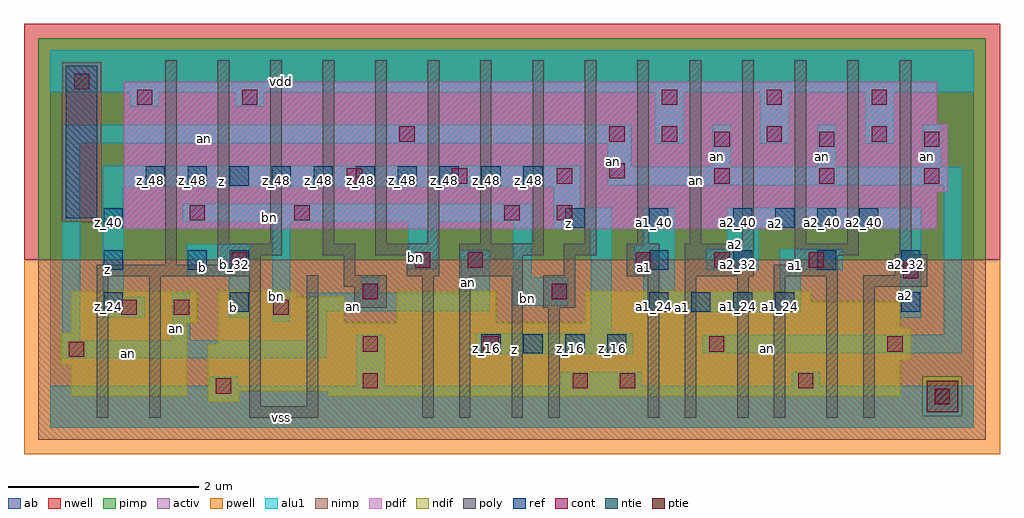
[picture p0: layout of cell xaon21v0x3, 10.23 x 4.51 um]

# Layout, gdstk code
import gdstk
lib = gdstk.Library(unit=1e-6, precision=2.5e-09)
def R(c, l, rs):  # rectangles x0, y0, x1, y1
    for r in rs: c.add(gdstk.rectangle(r[:2], r[2:], *l))
def A(c, l, x, y, w, h, nx, ny, dx, dy):  # array of equal rectangles
    R(c, l, [(x+i*dx, y+j*dy, x+i*dx+w, y+j*dy+h) for i in range(nx) for j in range(ny)])
ndif = (3, 0)
pdif = (4, 0)
ntie = (5, 0)
ptie = (6, 0)
ref = (24, 0)
cont = (25, 0)
pwell = (41, 0)
nwell = (42, 0)
activ = (43, 0)
pimp = (44, 0)
nimp = (45, 0)
poly = (46, 0)
alu1 = (49, 0)
ab = (63, 0)

xaon21v0x3 = lib.new_cell('xaon21v0x3')
R(xaon21v0x3, ndif, [(1.65,0.275,1.98,0.385), (0.22,0.33,1.43,0.66), (2.915,0.33,8.91,0.385), (1.65,0.385,8.91,0.715), (0.11,0.66,1.43,0.99), (1.65,0.715,9.02,0.88), (1.76,0.88,9.02,1.045), (0.22,0.99,1.43,1.1), (1.76,1.045,8.91,1.1), (0.22,1.1,1.54,1.43), (1.76,1.1,3.08,1.375), (3.63,1.1,4.675,1.43), (5.61,1.1,8.91,1.32), (5.61,1.32,7.975,1.43), (1.76,1.375,2.585,1.43)])
R(xaon21v0x3, pdif, [(0.77,2.09,9.295,2.475), (0.77,2.475,9.405,3.19), (0.77,3.19,9.295,3.63)])
R(xaon21v0x3, ntie, [(0.165,2.2,0.495,3.795)])
R(xaon21v0x3, ptie, [(9.185,0.165,9.515,0.495)])
A(xaon21v0x3, ref, 4.52, 0.78, 0.2, 0.2, 4, 1, 0.44, 0)
A(xaon21v0x3, ref, 0.56, 1.22, 0.2, 0.2, 1, 3, 0, 0.44)
A(xaon21v0x3, ref, 6.28, 1.22, 0.2, 0.2, 4, 1, 0.44, 0)
A(xaon21v0x3, ref, 6.28, 1.66, 0.2, 0.2, 4, 1, 0.88, 0)
A(xaon21v0x3, ref, 5.4, 2.1, 0.2, 0.2, 3, 1, 0.88, 0)
A(xaon21v0x3, ref, 7.6, 2.1, 0.2, 0.2, 3, 1, 0.44, 0)
A(xaon21v0x3, ref, 1, 2.54, 0.2, 0.2, 10, 1, 0.44, 0)
R(xaon21v0x3, ref, [(1.88,1.22,2.08,1.42), (8.92,1.22,9.12,1.42), (1.44,1.66,1.64,1.86), (1.88,1.66,2.08,1.86)])
A(xaon21v0x3, cont, 3.11, 2.56, 0.16, 0.16, 3, 1, 1.1, 0)
A(xaon21v0x3, cont, 6.96, 2.56, 0.16, 0.16, 3, 2, 1.1, 0.385)
A(xaon21v0x3, cont, 6.41, 3, 0.16, 0.16, 3, 2, 1.1, 0.385)
R(xaon21v0x3, cont, [(9.27,0.25,9.43,0.41), (1.735,0.36,1.895,0.52), (3.275,0.415,3.435,0.575), (5.475,0.415,5.635,0.575), (5.97,0.415,6.13,0.575), (7.84,0.415,8,0.575), (0.195,0.745,0.355,0.905), (3.275,0.8,3.435,0.96), (4.54,0.8,4.7,0.96), (6.905,0.8,7.065,0.96), (8.775,0.8,8.935,0.96), (0.745,1.185,0.905,1.345), (1.295,1.185,1.455,1.345), (2.34,1.185,2.5,1.345), (3.275,1.35,3.435,1.51), (5.255,1.35,5.415,1.51), (8.94,1.57,9.1,1.73), (1.9,1.68,2.06,1.84), (3.825,1.68,3.985,1.84), (4.375,1.68,4.535,1.84), (6.135,1.68,6.295,1.84), (6.96,1.68,7.12,1.84), (7.95,1.68,8.11,1.84), (1.46,2.175,1.62,2.335), (2.56,2.175,2.72,2.335), (4.76,2.175,4.92,2.335), (5.31,2.175,5.47,2.335), (5.86,2.615,6.02,2.775), (3.66,3,3.82,3.16), (5.86,3,6.02,3.16), (0.91,3.385,1.07,3.545), (2.01,3.385,2.17,3.545), (0.25,3.55,0.41,3.71)])
R(xaon21v0x3, pwell, [(-0.275,-0.275,9.955,1.76)])
R(xaon21v0x3, nwell, [(-0.275,1.76,9.955,4.235)])
R(xaon21v0x3, activ, [(9.185,0.165,9.515,0.495), (1.65,0.275,1.98,0.385), (0.22,0.33,1.43,0.66), (2.915,0.33,8.91,0.385), (1.65,0.385,8.91,0.715), (0.11,0.66,1.43,0.99), (1.65,0.715,9.02,0.88), (1.76,0.88,9.02,1.045), (0.22,0.99,1.43,1.1), (1.76,1.045,8.91,1.1), (0.22,1.1,1.54,1.43), (1.76,1.1,3.08,1.375), (3.63,1.1,4.675,1.43), (5.61,1.1,8.91,1.32), (5.61,1.32,7.975,1.43), (1.76,1.375,2.585,1.43), (0.77,2.09,9.295,2.475), (0.165,2.2,0.495,3.795), (0.77,2.475,9.405,3.19), (0.77,3.19,9.295,3.63)])
R(xaon21v0x3, pimp, [(9.145,0.125,9.555,0.535), (-0.125,1.76,9.805,2.16), (-0.125,2.16,0.125,3.835), (0.535,2.16,9.805,3.835), (-0.125,3.835,9.805,4.085)])
R(xaon21v0x3, nimp, [(-0.125,-0.125,9.805,0.125), (-0.125,0.125,9.145,0.535), (9.555,0.125,9.805,0.535), (-0.125,0.535,9.805,1.76), (0.125,2.16,0.535,3.835)])
A(xaon21v0x3, poly, 1.755, 1.93, 0.12, 1.925, 13, 1, 0.55, 0)
R(xaon21v0x3, poly, [(0.49,0.105,0.61,1.59), (1.04,0.105,1.16,1.59), (2.085,0.105,2.81,0.225), (3.9,0.105,4.02,1.59), (4.285,0.105,4.405,1.59), (4.835,0.105,4.955,1.59), (5.22,0.105,5.34,1.26), (6.265,0.105,6.385,1.59), (6.65,0.105,6.77,1.59), (7.2,0.105,7.32,1.59), (7.585,0.105,7.705,1.59), (8.135,0.105,8.255,1.59), (8.52,0.105,8.64,1.48), (2.085,0.225,2.205,1.59), (2.69,0.225,2.81,1.6), (3.185,1.26,3.525,1.48), (5.165,1.26,5.505,1.6), (3.075,1.48,3.525,1.6), (8.52,1.48,9.19,1.6), (0.49,1.59,2.205,1.71), (3.735,1.59,4.075,1.81), (4.285,1.59,4.955,1.81), (6.045,1.59,6.385,1.93), (6.65,1.59,7.375,1.93), (7.585,1.59,8.255,1.71), (3.075,1.6,3.195,1.81), (5.385,1.6,5.505,1.81), (8.85,1.6,9.19,1.82), (1.205,1.71,1.325,3.855), (1.755,1.71,2.205,1.81), (7.805,1.71,8.255,1.81), (1.755,1.81,2.425,1.93), (2.855,1.81,3.195,1.93), (3.405,1.81,4.075,1.93), (4.285,1.81,5.175,1.93), (5.385,1.81,5.725,1.93), (7.805,1.81,8.475,1.93), (8.905,1.82,9.025,3.855)])
A(xaon21v0x3, alu1, 6.945, 2.735, 0.19, 0.44, 3, 1, 1.1, 0)
A(xaon21v0x3, alu1, 6.34, 2.985, 0.3, 0.535, 3, 1, 1.1, 0)
R(xaon21v0x3, alu1, [(0,0,9.68,0.44), (1.665,0.44,1.965,0.535), (3.205,0.44,3.505,0.975), (5.35,0.44,6.2,0.59), (7.77,0.44,8.07,0.59), (0.125,0.73,2.9,0.92), (4.455,0.77,6.105,0.99), (6.835,0.785,9.555,0.975), (0.125,0.92,0.315,2.985), (1.28,0.92,1.47,1.415), (2.71,0.92,2.9,1.225), (9.365,0.975,9.555,2.545), (5.665,0.99,5.885,2.09), (2.325,1.115,2.515,2.16), (0.55,1.155,0.99,1.375), (1.87,1.155,2.09,1.595), (8.91,1.155,9.13,2.09), (6.215,1.21,7.865,1.43), (2.71,1.225,4.605,1.415), (4.855,1.28,5.43,1.58), (0.55,1.375,0.77,2.53), (3.26,1.415,3.45,1.58), (4.305,1.415,4.605,1.855), (6.215,1.43,6.545,1.61), (7.645,1.43,7.865,1.65), (4.855,1.58,5.045,2.16), (1.43,1.595,2.09,1.925), (6.12,1.61,6.545,1.91), (6.875,1.65,7.425,1.87), (7.645,1.65,8.305,1.87), (3.755,1.665,4.055,2.16), (7.095,1.87,7.425,2.09), (6.215,1.91,6.545,2.31), (5.28,2.09,5.885,2.31), (7.095,2.09,9.13,2.31), (1.39,2.16,5.045,2.35), (5.28,2.31,5.555,2.53), (0.55,2.53,5.555,2.75), (5.845,2.545,9.555,2.735), (5.845,2.735,6.09,2.985), (0.125,2.985,6.09,3.175), (0.84,3.37,1.14,3.52), (1.94,3.37,2.24,3.52), (0,3.52,9.68,3.96)])
R(xaon21v0x3, ab, [(0,0,9.68,3.96)])
xaon21v0x3.add(gdstk.Label('vss', (2.42,0.11), layer=49, texttype=0))
xaon21v0x3.add(gdstk.Label('an', (7.515,0.8325), layer=49, texttype=0))
xaon21v0x3.add(gdstk.Label('z', (4.8675,0.825), layer=49, texttype=0))
xaon21v0x3.add(gdstk.Label('an', (0.8175,0.7775), layer=49, texttype=0))
xaon21v0x3.add(gdstk.Label('a2', (8.965,1.3875), layer=49, texttype=0))
xaon21v0x3.add(gdstk.Label('a1', (6.6275,1.265), layer=49, texttype=0))
xaon21v0x3.add(gdstk.Label('a1', (7.81,1.705), layer=49, texttype=0))
xaon21v0x3.add(gdstk.Label('a2', (7.1775,1.925), layer=49, texttype=0))
xaon21v0x3.add(gdstk.Label('a2', (7.6025,2.145), layer=49, texttype=0))
xaon21v0x3.add(gdstk.Label('a1', (6.225,1.685), layer=49, texttype=0))
xaon21v0x3.add(gdstk.Label('bn', (4.9975,1.355), layer=49, texttype=0))
xaon21v0x3.add(gdstk.Label('z', (5.43,2.145), layer=49, texttype=0))
xaon21v0x3.add(gdstk.Label('an', (3.1825,1.2725), layer=49, texttype=0))
xaon21v0x3.add(gdstk.Label('an', (4.38,1.525), layer=49, texttype=0))
xaon21v0x3.add(gdstk.Label('bn', (3.83,1.7875), layer=49, texttype=0))
xaon21v0x3.add(gdstk.Label('bn', (2.3725,1.375), layer=49, texttype=0))
xaon21v0x3.add(gdstk.Label('b', (1.925,1.265), layer=49, texttype=0))
xaon21v0x3.add(gdstk.Label('an', (1.3275,1.0425), layer=49, texttype=0))
xaon21v0x3.add(gdstk.Label('b', (1.595,1.6775), layer=49, texttype=0))
xaon21v0x3.add(gdstk.Label('bn', (2.3025,2.2075), layer=49, texttype=0))
xaon21v0x3.add(gdstk.Label('z', (0.605,1.6625), layer=49, texttype=0))
xaon21v0x3.add(gdstk.Label('an', (6.7725,2.5925), layer=49, texttype=0))
xaon21v0x3.add(gdstk.Label('an', (9.1925,2.845), layer=49, texttype=0))
xaon21v0x3.add(gdstk.Label('an', (8.0925,2.845), layer=49, texttype=0))
xaon21v0x3.add(gdstk.Label('an', (6.9925,2.845), layer=49, texttype=0))
xaon21v0x3.add(gdstk.Label('an', (5.905,2.7975), layer=49, texttype=0))
xaon21v0x3.add(gdstk.Label('z', (1.8,2.585), layer=49, texttype=0))
xaon21v0x3.add(gdstk.Label('an', (1.615,3.0325), layer=49, texttype=0))
xaon21v0x3.add(gdstk.Label('vdd', (2.42,3.63), layer=49, texttype=0))
xaon21v0x3.add(gdstk.Label('z_16', (5.45,0.83), layer=24, texttype=0))
xaon21v0x3.add(gdstk.Label('z_40', (5.45,2.15), layer=24, texttype=0))
xaon21v0x3.add(gdstk.Label('z_16', (5.89,0.83), layer=24, texttype=0))
xaon21v0x3.add(gdstk.Label('a1_24', (6.33,1.27), layer=24, texttype=0))
xaon21v0x3.add(gdstk.Label('a1_32', (6.33,1.71), layer=24, texttype=0))
xaon21v0x3.add(gdstk.Label('a1_40', (6.33,2.15), layer=24, texttype=0))
xaon21v0x3.add(gdstk.Label('z_24', (0.61,1.27), layer=24, texttype=0))
xaon21v0x3.add(gdstk.Label('z_32', (0.61,1.71), layer=24, texttype=0))
xaon21v0x3.add(gdstk.Label('z_40', (0.61,2.15), layer=24, texttype=0))
xaon21v0x3.add(gdstk.Label('a1_24', (6.77,1.27), layer=24, texttype=0))
xaon21v0x3.add(gdstk.Label('a1_24', (7.21,1.27), layer=24, texttype=0))
xaon21v0x3.add(gdstk.Label('a2_32', (7.21,1.71), layer=24, texttype=0))
xaon21v0x3.add(gdstk.Label('a2_40', (7.21,2.15), layer=24, texttype=0))
xaon21v0x3.add(gdstk.Label('a1_24', (7.65,1.27), layer=24, texttype=0))
xaon21v0x3.add(gdstk.Label('a2_40', (7.65,2.15), layer=24, texttype=0))
xaon21v0x3.add(gdstk.Label('a1_32', (8.09,1.71), layer=24, texttype=0))
xaon21v0x3.add(gdstk.Label('a2_40', (8.09,2.15), layer=24, texttype=0))
xaon21v0x3.add(gdstk.Label('a2_40', (8.53,2.15), layer=24, texttype=0))
xaon21v0x3.add(gdstk.Label('a2_24', (8.97,1.27), layer=24, texttype=0))
xaon21v0x3.add(gdstk.Label('a2_32', (8.97,1.71), layer=24, texttype=0))
xaon21v0x3.add(gdstk.Label('z_48', (1.05,2.59), layer=24, texttype=0))
xaon21v0x3.add(gdstk.Label('b_32', (1.49,1.71), layer=24, texttype=0))
xaon21v0x3.add(gdstk.Label('z_48', (1.49,2.59), layer=24, texttype=0))
xaon21v0x3.add(gdstk.Label('b_24', (1.93,1.27), layer=24, texttype=0))
xaon21v0x3.add(gdstk.Label('b_32', (1.93,1.71), layer=24, texttype=0))
xaon21v0x3.add(gdstk.Label('z_48', (1.93,2.59), layer=24, texttype=0))
xaon21v0x3.add(gdstk.Label('z_48', (2.37,2.59), layer=24, texttype=0))
xaon21v0x3.add(gdstk.Label('z_48', (2.81,2.59), layer=24, texttype=0))
xaon21v0x3.add(gdstk.Label('z_48', (3.25,2.59), layer=24, texttype=0))
xaon21v0x3.add(gdstk.Label('z_48', (3.69,2.59), layer=24, texttype=0))
xaon21v0x3.add(gdstk.Label('z_48', (4.13,2.59), layer=24, texttype=0))
xaon21v0x3.add(gdstk.Label('z_16', (4.57,0.83), layer=24, texttype=0))
xaon21v0x3.add(gdstk.Label('z_48', (4.57,2.59), layer=24, texttype=0))
xaon21v0x3.add(gdstk.Label('z_16', (5.01,0.83), layer=24, texttype=0))
xaon21v0x3.add(gdstk.Label('z_48', (5.01,2.59), layer=24, texttype=0))

lib.write_gds('xaon21v0x3.gds')
